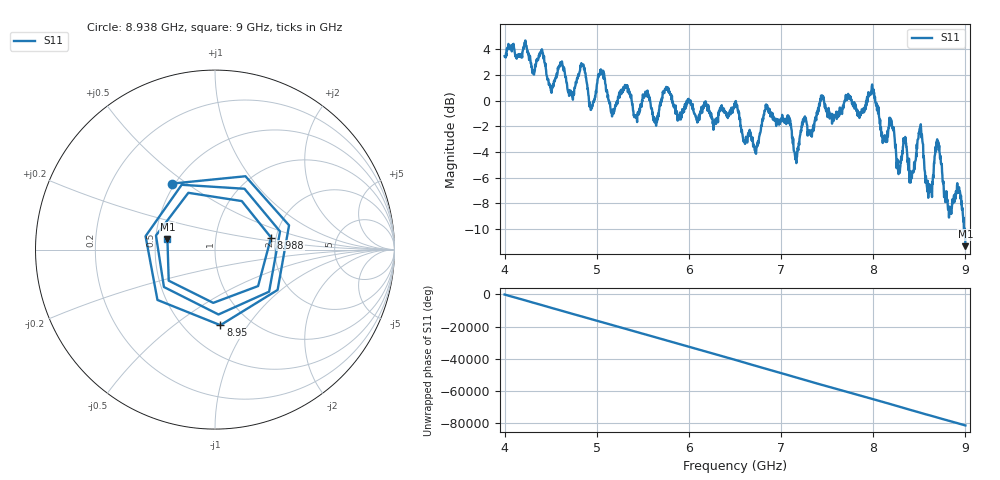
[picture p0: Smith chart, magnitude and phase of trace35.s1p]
! Created with skrf 1.8.0 (http://scikit-rf.org).
# Hz S RI R 50.0
!freq ReS11 ImS11
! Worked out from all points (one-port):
!   1601 points, 4 GHz to 9 GHz, reference 50 ohm
!   lowest |S11| = -11.3 dB at 9 GHz (marker M1), VSWR 1.74, Z = 28.9 + j3.58 ohm
!   |S11| at or under -10 dB: 8.983426 GHz to 8.986826 GHz (3.4 MHz wide, 0.0378 % of centre); 8.989949 GHz to end of sweep
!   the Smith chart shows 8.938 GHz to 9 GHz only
!   S11 on the Smith chart (normalised r, x): 8.938 GHz: 0.48, +0.44; 8.95 GHz: 0.73, -0.75; 8.988 GHz: 1.88, +0.28; 9 GHz: 0.58, +0.07
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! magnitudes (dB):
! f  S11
! 4 GHz  3.5
! 4.403 GHz  3.9
! 4.506 GHz  0.9
! 4.625 GHz  2.9
! 4.722 GHz  0.6
! 4.847 GHz  2.7
! 4.941 GHz  -0.6
! 5.047 GHz  2.1
! 5.166 GHz  -1.2
! 5.25 GHz  0.6
! 5.875 GHz  -1.4
! 6.5 GHz  -0.3
! 6.719 GHz  -3.8
! 6.844 GHz  -0.6
! 7.125 GHz  -3.0
! 7.75 GHz  0.1
! 7.994 GHz  1.0
! 8.112 GHz  -3.1
! 8.375 GHz  -4.6
! 8.425 GHz  -5.5
! 8.509 GHz  -2.1
! 8.603 GHz  -7.0
! 8.697 GHz  -3.5
! 8.822 GHz  -9.1
! 8.938 GHz  -7.2
! 8.95 GHz  -7.5
! 8.988 GHz  -9.9
! 9 GHz  -11.3
